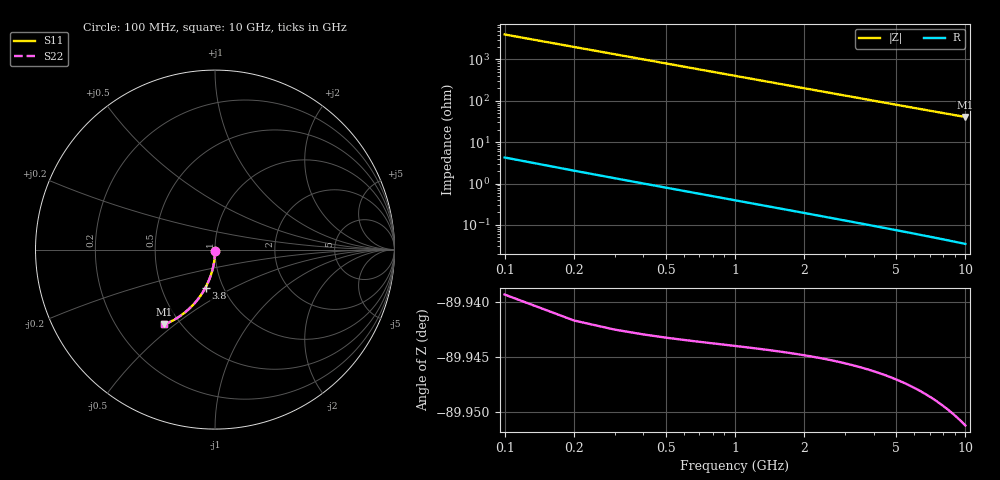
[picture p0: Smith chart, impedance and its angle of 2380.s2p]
# Hz S RI R 50.00
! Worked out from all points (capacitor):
!   100 points, 100 MHz to 10 GHz, reference 50 ohm
!   read as one part in shunt: C = 396 fF near 100 MHz
!   lowest |Z| = 40.6 ohm at 10 GHz (marker M1)
!   S11 on the Smith chart (normalised r, x): 100 MHz: 1.00, -0.01; 3.8 GHz: 0.83, -0.37; 10 GHz: 0.41, -0.46
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1e8  0.00019 -0.00589  0.9997 -0.00655  0.9997 -0.00655  0.00019 -0.00589
2e8  6.98e-05 -0.0118  0.9996 -0.0131  0.9996 -0.0131  6.98e-05 -0.0118
3e8  -0.000128 -0.0177  0.9994 -0.0196  0.9994 -0.0196  -0.000128 -0.0177
4e8  -0.000402 -0.0235  0.9991 -0.0262  0.9991 -0.0262  -0.000402 -0.0235
5e8  -0.000754 -0.0294  0.9988 -0.0327  0.9988 -0.0327  -0.000754 -0.0294
6e8  -0.00118 -0.0353  0.9983 -0.0392  0.9983 -0.0392  -0.00118 -0.0353
7e8  -0.00169 -0.0411  0.9978 -0.0457  0.9978 -0.0457  -0.00169 -0.0411
8e8  -0.00227 -0.047  0.9972 -0.0523  0.9972 -0.0523  -0.00227 -0.047
9e8  -0.00293 -0.0528  0.9966 -0.0587  0.9966 -0.0587  -0.00293 -0.0528
1.1e9  -0.00447 -0.0645  0.995 -0.0717  0.995 -0.0717  -0.00447 -0.0645
1.4e9  -0.00734 -0.0818  0.9921 -0.091  0.9921 -0.091  -0.00734 -0.0818
1.8e9  -0.0122 -0.1046  0.9872 -0.1165  0.9872 -0.1165  -0.0122 -0.1046
2.1e9  -0.0166 -0.1215  0.9828 -0.1353  0.9828 -0.1353  -0.0166 -0.1215
2.5e9  -0.0235 -0.1436  0.9759 -0.1601  0.9759 -0.1601  -0.0235 -0.1436
2.9e9  -0.0314 -0.1652  0.9679 -0.1843  0.9679 -0.1843  -0.0314 -0.1652
3.4e9  -0.0427 -0.1914  0.9565 -0.2138  0.9565 -0.2138  -0.0427 -0.1914
3.8e9  -0.0529 -0.2115  0.9463 -0.2366  0.9463 -0.2366  -0.0529 -0.2115
4.4e9  -0.0697 -0.2404  0.9294 -0.2695  0.9294 -0.2695  -0.0697 -0.2404
5.1e9  -0.0916 -0.2719  0.9073 -0.3056  0.9073 -0.3056  -0.0916 -0.2719
6.7e9  -0.1487 -0.3339  0.8498 -0.3782  0.8498 -0.3782  -0.1487 -0.3339
8.4e9  -0.2162 -0.384  0.7817 -0.4397  0.7817 -0.4397  -0.2162 -0.384
1e10  -0.2819 -0.4168  0.7153 -0.4834  0.7153 -0.4834  -0.2819 -0.4168
